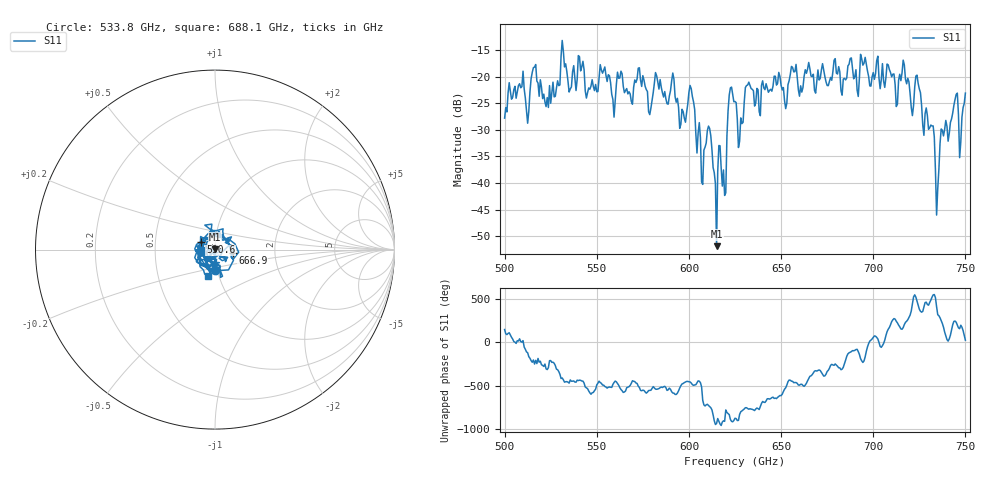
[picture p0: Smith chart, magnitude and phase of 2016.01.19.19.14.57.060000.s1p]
!Created with skrf (http://scikit-rf.org).
# GHz S RI R 50.0
!freq ReS11 ImS11
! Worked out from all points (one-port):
!   401 points, 500 GHz to 750 GHz, reference 50 ohm
!   lowest |S11| = -51.9 dB at 615 GHz (marker M1), VSWR 1.01, Z = 49.8 + j0.143 ohm
!   |S11| at or under -10 dB: start of sweep to end of sweep
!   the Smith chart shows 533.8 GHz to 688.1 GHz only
!   S11 on the Smith chart (normalised r, x): 533.8 GHz: 0.97, -0.22; 590.6 GHz: 0.85, +0.07; 666.9 GHz: 1.22, -0.05; 688.1 GHz: 0.89, -0.26
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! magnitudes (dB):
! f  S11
! 500 GHz  -27.8
! 508.8 GHz  -22.1
! 512.5 GHz  -28.8
! 515.6 GHz  -18.3
! 523.8 GHz  -25.8
! 531.2 GHz  -13.2
! 533.8 GHz  -19.0
! 562.5 GHz  -20.2
! 590.6 GHz  -20.8
! 593.8 GHz  -24.1
! 601.2 GHz  -22.2
! 607.5 GHz  -40.3
! 611.2 GHz  -29.7
! 615 GHz  -51.9
! 619.4 GHz  -42.3
! 622.5 GHz  -22.1
! 625 GHz  -24.7
! 628.1 GHz  -27.8
! 631.9 GHz  -21.6
! 656.2 GHz  -18.3
! 666.9 GHz  -20.0
! 687.5 GHz  -16.6
! 688.1 GHz  -16.5
! 718.8 GHz  -20.3
! 724.4 GHz  -21.3
! 735 GHz  -41.1
! 738.1 GHz  -31.1
! 750 GHz  -23.1
